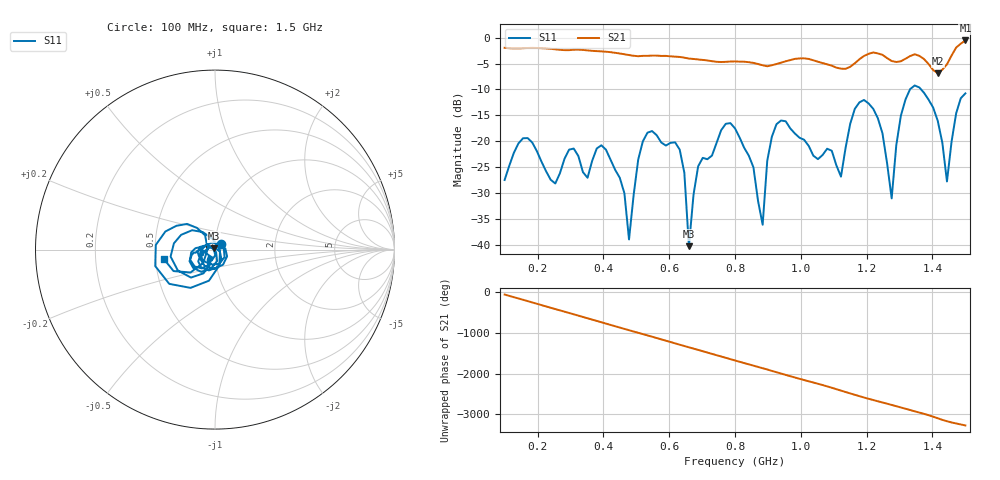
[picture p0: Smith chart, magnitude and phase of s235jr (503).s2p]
! NanoVNA-App
! Date: 2025-09-25 15:08:04
! Start: 100MHz Stop: 1,5GHz Points: 101
! S-Parameter data: F S11 S21 S12 S22
# Hz S RI R 50
!  Frequency  S11_Real  S11_Imag  S21_Real  S21_Imag  S12_Real  S12_Imag  S22_Real  S22_Imag
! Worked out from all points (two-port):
!   101 points, 100 MHz to 1.5 GHz, reference 50 ohm
!   highest |S21| = -0.55 dB at 1.5 GHz (marker M1); lowest = -6.9 dB at 1.416 GHz (marker M2)
!   |S21| within 3 dB of the highest: start of sweep to 499.5 MHz; 514 MHz to 593.6 MHz (79.52 MHz wide, 14.4 % of centre) (the widest 2 of 5)
!   lowest |S11| = -40.2 dB at 660 MHz (marker M3), VSWR 1.02, Z = 49.3 + j0.62 ohm
!   |S11| at or under -10 dB: start of sweep to 1.332 GHz; 1.365 GHz to end of sweep
!   S12 and S22 are empty: the file has one direction only
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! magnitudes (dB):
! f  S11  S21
! 100 MHz  -27.5  -2.0
! 156 MHz  -19.4  -2.0
! 338 MHz  -26.0  -2.4
! 408 MHz  -21.6  -2.7
! 478 MHz  -38.9  -3.4
! 520 MHz  -20.0  -3.5
! 576 MHz  -20.2  -3.5
! 632 MHz  -21.6  -3.7
! 660 MHz  -40.2  -4.0
! 688 MHz  -24.8  -4.2
! 800 MHz  -17.5  -4.6
! 884 MHz  -36.1  -5.3
! 926 MHz  -16.7  -5.1
! 1.038 GHz  -22.8  -4.4
! 1.122 GHz  -26.8  -6.0
! 1.192 GHz  -12.0  -3.5
! 1.248 GHz  -18.4  -3.3
! 1.276 GHz  -31.0  -4.5
! 1.332 GHz  -9.9  -3.6
! 1.416 GHz  -16.1  -6.9
! 1.444 GHz  -27.8  -5.2
! 1.5 GHz  -10.8  -0.5
